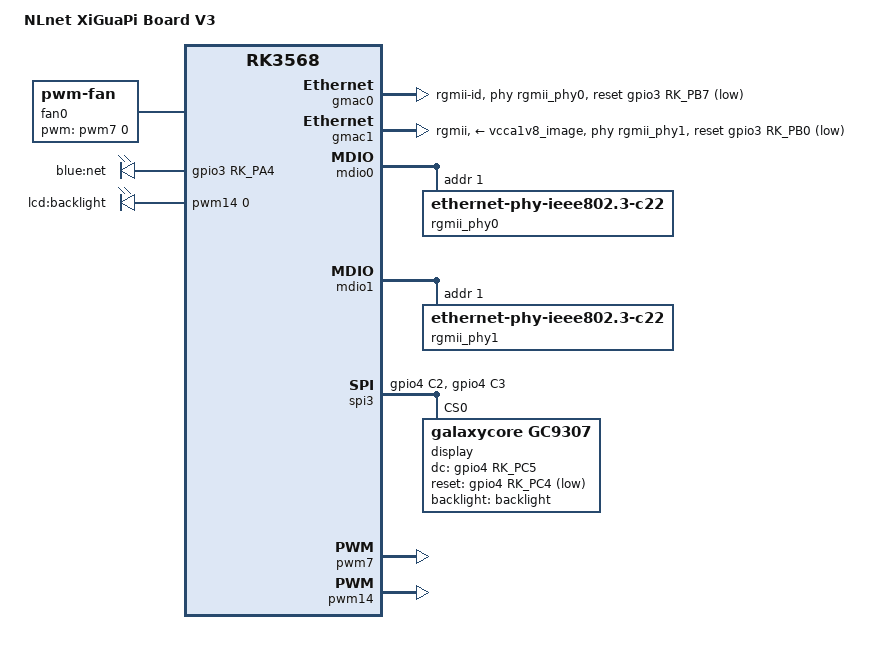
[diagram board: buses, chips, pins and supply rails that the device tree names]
// SPDX-License-Identifier: (GPL-2.0+ OR MIT)

/dts-v1/;

#include "rk3568-nlnet-xgz68.dtsi"

/ {
	model = "NLnet XiGuaPi Board V3";
	compatible = "nlnet,xgp", "rockchip,rk3568";

	aliases {
		ethernet0 = &gmac0;
		ethernet1 = &gmac1;
		led-boot = &sys_led;
		led-failsafe = &sys_led;
		led-running = &sys_led;
		led-upgrade = &sys_led;
	};

	fan0: pwm-fan {
		compatible = "pwm-fan";
		pinctrl-names = "default";
		#cooling-cells = <2>;
		pwms = <&pwm7 0 40000 0>;
		cooling-levels = <0 50 80 110 140 170 200 230 255>;
	};

	leds {
		pinctrl-0 = <&sys_led &net_led_pin>;

		net_led: net-led {
			gpios = <&gpio3 RK_PA4 GPIO_ACTIVE_HIGH>;
			label = "blue:net";
		};
	};

	led-controller {
		compatible = "pwm-leds";

		backlight: backlight {
			label = "lcd:backlight";
			pwms = <&pwm14 0 1000000 0>;
			max-brightness = <255>;
			linux,default-trigger = "default-on";
		};
	};
};

&gmac0 {
	assigned-clocks = <&cru SCLK_GMAC0_RX_TX>, <&cru SCLK_GMAC0>;
	assigned-clock-parents = <&cru SCLK_GMAC0_RGMII_SPEED>;
	assigned-clock-rates = <0>, <125000000>;
	clock_in_out = "output";
	phy-mode = "rgmii-id";
	pinctrl-names = "default";
	pinctrl-0 = <&gmac0_miim
			&gmac0_tx_bus2
			&gmac0_rx_bus2
			&gmac0_rgmii_clk
			&gmac0_rgmii_bus>;
	snps,reset-gpio = <&gpio3 RK_PB7 GPIO_ACTIVE_LOW>;
	snps,reset-active-low;
	snps,reset-delays-us = <0 20000 100000>;
	tx_delay = <0x3c>;
	rx_delay = <0x2f>;
	phy-handle = <&rgmii_phy0>;
	status = "okay";
};

&gmac1 {
	assigned-clocks = <&cru SCLK_GMAC1_RX_TX>, <&cru SCLK_GMAC1>;
	assigned-clock-parents = <&cru SCLK_GMAC1_RGMII_SPEED>;
	assigned-clock-rates = <0>, <125000000>;
	clock_in_out = "output";
	phy-mode = "rgmii";
	pinctrl-names = "default";
	pinctrl-0 = <&gmac1m1_miim
			&gmac1m1_tx_bus2
			&gmac1m1_rx_bus2
			&gmac1m1_rgmii_clk
			&gmac1m1_rgmii_bus>;
	snps,reset-gpio = <&gpio3 RK_PB0 GPIO_ACTIVE_LOW>;
	snps,reset-active-low;
	snps,reset-delays-us = <0 20000 100000>;
	tx_delay = <0x3c>;
	rx_delay = <0x2f>;
	phy-handle = <&rgmii_phy1>;
	phy-supply = <&vcca1v8_image>;
	status = "okay";
};

&mdio0 {
	rgmii_phy0: ethernet-phy@0 {
		compatible = "ethernet-phy-ieee802.3-c22";
		reg = <0x1>;
	};
};

&mdio1 {
	rgmii_phy1: ethernet-phy@0 {
		compatible = "ethernet-phy-ieee802.3-c22";
		reg = <0x1>;
	};
};

&pmu_io_domains {
	vccio5-supply = <&vcc_3v3>;
};

&spi3 {
	pinctrl-names = "default";
	pinctrl-0 = <&spi3m1_cs0 &spi3_sck &spi3_mosi>;
	status = "okay";
	display@0 {
		pinctrl-names = "default";
		pinctrl-0 = <&spi3_display_dc_pin &display_reset_pin>;
		compatible = "galaxycore,gc9307";
		reg = <0>;
		rotate = <270>;
		dc-gpios = <&gpio4 RK_PC5 GPIO_ACTIVE_HIGH>;
		reset-gpios = <&gpio4 RK_PC4 GPIO_ACTIVE_LOW>;
		backlight = <&backlight>;
		buswidth = <8>;
		debug = <0x0>;
		mirror-y;
		status = "okay";
	};
};

&pinctrl {
	leds {
		net_led_pin: net-led-pin {
			rockchip,pins = <3 RK_PA4 RK_FUNC_GPIO &pcfg_pull_none>;
		};
	};

	spi3 {
		spi3_sck: spi3_sck {
			rockchip,pins = <4 RK_PC2 2 &pcfg_pull_none>;
		};
		spi3_mosi: spi3_mosi {
			rockchip,pins = <4 RK_PC3 2 &pcfg_pull_none>;
		};
	};

	display {
		spi3_display_dc_pin: spi3_display_dc_pin {
			rockchip,pins = <4 RK_PC5 RK_FUNC_GPIO &pcfg_pull_none>;
		};
		display_reset_pin: display_reset_pin {
			rockchip,pins = <4 RK_PC4 RK_FUNC_GPIO &pcfg_pull_none>;
		};
	};

	backlight {
		backlight_led_pin: backlight-led-pin {
			rockchip,pins = <3 RK_PA2 RK_FUNC_GPIO &pcfg_pull_none>;
		};
	};

	modem {
		modem_reset_pins: modem-reset-pins {
			rockchip,pins = <2 RK_PD7 RK_FUNC_GPIO &pcfg_pull_down>;
		};
	};
};

&pwm7 {
	status = "okay";
	pinctrl-0 = <&pwm7_pins>;
	pinctrl-names = "default";
};

&pwm14 {
	status = "okay";
	pinctrl-0 = <&pwm14m0_pins>;
	pinctrl-names = "default";
};

&usb2phy0_host {
	pinctrl-0 = <&modem_reset_pins>;
	pinctrl-names = "default";
};

&cpu_thermal {
	trips {
		cpu_idle: cpu_idle {
			temperature = <20000>;
			hysteresis = <5000>;
			type = "passive";
		};
		cpu_low: cpu_low {
			temperature = <40000>;
			hysteresis = <5000>;
			type = "active";
		};
		cpu_warm: cpu_warm {
			temperature = <50000>;
			hysteresis = <5000>;
			type = "active";
		};
		cpu_hot: cpu_hot {
			temperature = <60000>;
			hysteresis = <5000>;
			type = "active";
		};
		cpu_hall: cpu_hall {
			temperature = <70000>;
			hysteresis = <5000>;
			type = "active";
		};
	};

	cooling-maps {
		map0 {
			trip = <&cpu_idle>;
			cooling-device = <&fan0 0 1>;
		};
		map1 {
			trip = <&cpu_low>;
			cooling-device = <&fan0 1 3>;
		};
		map2 {
			trip = <&cpu_warm>;
			cooling-device = <&fan0 3 5>;
		};
		map3 {
			trip = <&cpu_hot>;
			cooling-device = <&fan0 5 7>;
		};
		map4 {
			trip = <&cpu_hall>;
			cooling-device = <&fan0 7 THERMAL_NO_LIMIT>;
		};
	};
};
